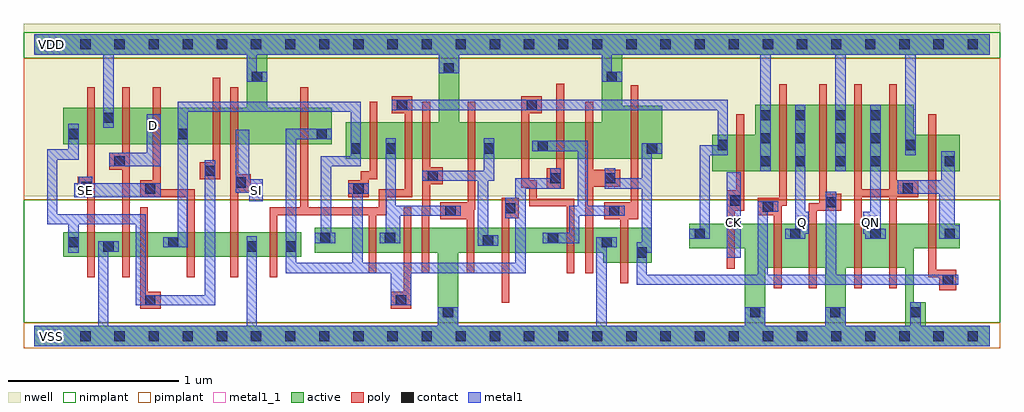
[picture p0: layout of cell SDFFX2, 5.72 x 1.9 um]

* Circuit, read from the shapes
.subckt SDFFX2 CK D Q QN SE SI VDD VSS
M1 VSS SE n1 VSS nfet w=0.145u l=0.045u
M2 n2 D VSS VSS nfet w=0.145u l=0.045u
M3 n3 n1 n2 VSS nfet w=0.145u l=0.045u
M4 n4 SE n3 VSS nfet w=0.145u l=0.045u
M5 VSS SI n4 VSS nfet w=0.145u l=0.045u
M6 n5 n6 VSS VSS nfet w=0.145u l=0.045u
M7 n7 n6 n3 VSS nfet w=0.145u l=0.045u
M8 n8 n5 n7 VSS nfet w=0.145u l=0.045u
M9 VSS n9 n8 VSS nfet w=0.145u l=0.045u
M10 n9 n7 VSS VSS nfet w=0.145u l=0.045u
M11 n10 n5 n9 VSS nfet w=0.145u l=0.045u
M12 n11 n6 n10 VSS nfet w=0.145u l=0.045u
M13 VSS n12 n11 VSS nfet w=0.145u l=0.045u
M14 n12 n10 VSS VSS nfet w=0.205u l=0.045u
M15 VSS CK n6 VSS nfet w=0.145u l=0.045u
M16 Q n12 VSS VSS nfet w=0.26u l=0.045u m=2
M17 QN n13 VSS VSS nfet w=0.26u l=0.045u m=2
M18 n13 n12 VSS VSS nfet w=0.145u l=0.045u
M19 VDD SE n1 VDD pfet w=0.215u l=0.045u
M20 n14 D VDD VDD pfet w=0.215u l=0.045u
M21 n3 SE n14 VDD pfet w=0.215u l=0.045u
M22 n15 n1 n3 VDD pfet w=0.215u l=0.045u
M23 VDD SI n15 VDD pfet w=0.215u l=0.045u
M24 n5 n6 VDD VDD pfet w=0.215u l=0.045u
M25 n7 n5 n3 VDD pfet w=0.215u l=0.045u
M26 n16 n6 n7 VDD pfet w=0.215u l=0.045u
M27 VDD n9 n16 VDD pfet w=0.215u l=0.045u
M28 n9 n7 VDD VDD pfet w=0.215u l=0.045u
M29 n10 n6 n9 VDD pfet w=0.215u l=0.045u
M30 n17 n5 n10 VDD pfet w=0.215u l=0.045u
M31 VDD n12 n17 VDD pfet w=0.215u l=0.045u
M32 n12 n10 VDD VDD pfet w=0.31u l=0.045u
M33 VDD CK n6 VDD pfet w=0.215u l=0.045u
M34 Q n12 VDD VDD pfet w=0.39u l=0.045u m=2
M35 QN n13 VDD VDD pfet w=0.39u l=0.045u m=2
M36 n13 n12 VDD VDD pfet w=0.215u l=0.045u
.ends

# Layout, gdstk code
import gdstk
lib = gdstk.Library(unit=1e-6, precision=5e-10)
def R(c, l, rs):  # rectangles x0, y0, x1, y1
    for r in rs: c.add(gdstk.rectangle(r[:2], r[2:], *l))
def A(c, l, x, y, w, h, nx, ny, dx, dy):  # array of equal rectangles
    R(c, l, [(x+i*dx, y+j*dy, x+i*dx+w, y+j*dy+h) for i in range(nx) for j in range(ny)])
def P(c, l, *ps):  # polygons
    for p in ps: c.add(gdstk.Polygon(p, *l))
active = (1, 0)
nwell = (2, 0)
poly = (3, 0)
nimplant = (4, 0)
pimplant = (5, 0)
contact = (6, 0)
metal1 = (7, 0)
metal1_1 = (7, 1)

sdffx2 = lib.new_cell('SDFFX2')
R(sdffx2, active, [(0.17,0.465,1.565,0.61)])
P(sdffx2, active, [(0,1.77),(5.6,1.77),(5.6,1.65),(3.445,1.65),(3.445,1.35),(3.68,1.35),(3.68,1.04),(1.825,1.04),(1.825,1.255),(2.37,1.255),(2.37,1.65),(2.49,1.65),(2.49,1.255),(3.325,1.255),(3.325,1.65),(1.365,1.65),(1.365,1.34),(1.745,1.34),(1.745,1.125),(0.17,1.125),(0.17,1.34),(1.245,1.34),(1.245,1.65),(0,1.65)],
  [(4.225,1.355),(5.155,1.355),(5.155,1.18),(5.425,1.18),(5.425,0.965),(3.975,0.965),(3.975,1.18),(4.225,1.18)],
  [(1.645,0.635),(3.62,0.635),(3.62,0.43),(3.335,0.43),(3.335,0.49),(2.485,0.49),(2.485,0.06),(4.165,0.06),(4.165,0.4),(4.285,0.4),(4.285,0.06),(4.635,0.06),(4.635,0.4),(4.755,0.4),(4.755,0.06),(5.105,0.06),(5.105,0.4),(4.165,0.4),(4.165,0.515),(3.84,0.515),(3.84,0.66),(5.425,0.66),(5.425,0.515),(5.155,0.515),(5.155,0.2),(5.225,0.2),(5.225,0.06),(5.6,0.06),(5.6,-0.06),(0,-0.06),(0,0.06),(2.365,0.06),(2.365,0.49),(1.645,0.49)])
R(sdffx2, nwell, [(-0.06,0.82,5.66,1.83)])
P(sdffx2, poly, [(0.31,1.46),(0.355,1.46),(0.355,0.345),(0.31,0.345),(0.31,0.815),(0.255,0.815),(0.255,0.935),(0.31,0.935)],
  [(0.515,1.46),(0.56,1.46),(0.56,0.345),(0.515,0.345),(0.515,0.975),(0.44,0.975),(0.44,1.075),(0.515,1.075)],
  [(0.695,1.46),(0.74,1.46),(0.74,0.86),(0.94,0.86),(0.94,0.345),(0.895,0.345),(0.895,0.815),(0.62,0.815),(0.62,0.915),(0.695,0.915)],
  [(1.045,1.515),(1.09,1.515),(1.09,0.92),(0.97,0.92),(0.97,1.02),(1.045,1.02)],
  [(1.15,1.46),(1.195,1.46),(1.195,0.95),(1.27,0.95),(1.27,0.85),(1.195,0.85),(1.195,0.345),(1.15,0.345)],
  [(1.56,1.46),(1.605,1.46),(1.605,0.755),(2.02,0.755),(2.02,0.86),(2.17,0.86),(2.17,1.305),(2.095,1.305),(2.095,1.405),(2.215,1.405),(2.215,0.815),(2.065,0.815),(2.065,0.71),(2.005,0.71),(2.005,0.37),(1.96,0.37),(1.96,0.71),(1.425,0.71),(1.425,0.345),(1.38,0.345),(1.38,0.755),(1.56,0.755)],
  [(1.965,1.375),(2.01,1.375),(2.01,0.92),(1.96,0.92),(1.96,0.815),(1.84,0.815),(1.84,0.915),(1.915,0.915),(1.915,0.965),(1.965,0.965)],
  [(2.275,1.375),(2.32,1.375),(2.32,0.99),(2.395,0.99),(2.395,0.89),(2.32,0.89),(2.32,0.71),(2.315,0.71),(2.315,0.37),(2.27,0.37),(2.27,0.755),(2.275,0.755)],
  [(2.855,1.405),(2.975,1.405),(2.975,1.305),(2.9,1.305),(2.9,0.915),(2.945,0.915),(2.945,0.805),(3.165,0.805),(3.165,0.37),(3.12,0.37),(3.12,0.76),(2.9,0.76),(2.9,0.87),(2.855,0.87)],
  [(2.54,1.375),(2.585,1.375),(2.585,0.74),(2.58,0.74),(2.58,0.37),(2.535,0.37),(2.535,0.685),(2.38,0.685),(2.38,0.785),(2.54,0.785)],
  [(3.06,1.48),(3.105,1.48),(3.105,0.865),(3.005,0.865),(3.005,0.985),(3.06,0.985)],
  [(3.23,1.375),(3.275,1.375),(3.275,0.975),(3.435,0.975),(3.435,0.875),(3.275,0.875),(3.275,0.37),(3.23,0.37)],
  [(3.495,1.47),(3.54,1.47),(3.54,0.685),(3.48,0.685),(3.48,0.31),(3.435,0.31),(3.435,0.685),(3.34,0.685),(3.34,0.785),(3.495,0.785)],
  [(4.365,1.475),(4.41,1.475),(4.41,0.765),(4.38,0.765),(4.38,0.28),(4.335,0.28),(4.335,0.71),(4.24,0.71),(4.24,0.81),(4.365,0.81)],
  [(4.6,1.475),(4.645,1.475),(4.645,0.835),(4.73,0.835),(4.73,0.735),(4.585,0.735),(4.585,0.28),(4.54,0.28),(4.54,0.78),(4.6,0.78)],
  [(4.805,1.475),(4.85,1.475),(4.85,0.86),(5.01,0.86),(5.01,1.475),(5.055,1.475),(5.055,0.915),(5.18,0.915),(5.18,0.815),(5.055,0.815),(5.055,0.28),(5.01,0.28),(5.01,0.815),(4.85,0.815),(4.85,0.28),(4.805,0.28)],
  [(4.115,1.3),(4.16,1.3),(4.16,0.735),(4.105,0.735),(4.105,0.395),(4.06,0.395),(4.06,0.855),(4.115,0.855)],
  [(5.24,1.3),(5.285,1.3),(5.285,0.39),(5.405,0.39),(5.405,0.27),(5.305,0.27),(5.305,0.345),(5.24,0.345)],
  [(2.74,0.81),(2.84,0.81),(2.84,0.69),(2.785,0.69),(2.785,0.195),(2.74,0.195)],
  [(0.62,0.755),(0.665,0.755),(0.665,0.26),(0.74,0.26),(0.74,0.16),(0.62,0.16)],
  [(2.165,0.755),(2.21,0.755),(2.21,0.16),(2.09,0.16),(2.09,0.26),(2.165,0.26)])
R(sdffx2, nimplant, [(-0.06,0.08,5.66,0.8), (-0.06,1.63,5.66,1.78)])
R(sdffx2, pimplant, [(-0.06,-0.07,5.66,0.08), (-0.06,0.8,5.66,1.63)])
A(sdffx2, contact, 0.07, -0.03, 0.06, 0.06, 28, 2, 0.2, 1.71)
A(sdffx2, contact, 4.195, 0.11, 0.06, 0.06, 3, 1, 0.47, 0)
A(sdffx2, contact, 4.255, 0.995, 0.06, 0.06, 1, 3, 0, 0.135)
A(sdffx2, contact, 4.46, 0.995, 0.06, 0.06, 1, 3, 0, 0.135)
A(sdffx2, contact, 4.695, 0.995, 0.06, 0.06, 1, 3, 0, 0.135)
A(sdffx2, contact, 4.9, 0.995, 0.06, 0.06, 1, 3, 0, 0.135)
R(sdffx2, contact, [(2.395,0.11,2.455,0.17), (0.65,0.18,0.71,0.24), (2.12,0.18,2.18,0.24), (5.325,0.3,5.385,0.36), (3.53,0.46,3.59,0.52), (0.405,0.495,0.465,0.555), (1.245,0.495,1.305,0.555), (1.475,0.495,1.535,0.555), (0.2,0.52,0.26,0.58), (0.785,0.52,0.845,0.58), (3.325,0.52,3.385,0.58), (2.63,0.53,2.69,0.59), (1.675,0.545,1.735,0.605), (2.055,0.545,2.115,0.605), (3.01,0.545,3.07,0.605), (3.87,0.57,3.93,0.63), (4.43,0.57,4.49,0.63), (4.9,0.57,4.96,0.63), (5.335,0.57,5.395,0.63), (2.41,0.705,2.47,0.765), (3.37,0.705,3.43,0.765), (2.76,0.72,2.82,0.78), (4.27,0.73,4.33,0.79), (4.64,0.755,4.7,0.815), (4.08,0.765,4.14,0.825), (0.65,0.835,0.71,0.895), (1.87,0.835,1.93,0.895), (5.09,0.835,5.15,0.895), (0.275,0.845,0.335,0.905), (1.18,0.87,1.24,0.93), (3.025,0.895,3.085,0.955), (3.345,0.895,3.405,0.955), (2.305,0.91,2.365,0.97), (1,0.94,1.06,1), (0.47,0.995,0.53,1.055), (5.335,0.995,5.395,1.055), (1.855,1.07,1.915,1.13), (2.06,1.07,2.12,1.13), (2.635,1.07,2.695,1.13), (3.59,1.07,3.65,1.13), (2.95,1.085,3.01,1.145), (4.005,1.09,4.065,1.15), (5.105,1.09,5.165,1.15), (0.2,1.155,0.26,1.215), (0.84,1.155,0.9,1.215), (1.655,1.155,1.715,1.215), (0.405,1.25,0.465,1.31), (2.125,1.325,2.185,1.385), (2.885,1.325,2.945,1.385), (1.275,1.49,1.335,1.55), (3.355,1.49,3.415,1.55), (2.4,1.54,2.46,1.6)])
R(sdffx2, metal1, [(4.06,0.46,4.14,0.96)])
P(sdffx2, metal1, [(0,1.77),(5.6,1.77),(5.6,1.65),(5.165,1.65),(5.165,1.06),(5.105,1.06),(5.105,1.65),(4.755,1.65),(4.755,0.965),(4.695,0.965),(4.695,1.65),(4.315,1.65),(4.315,0.965),(4.255,0.965),(4.255,1.65),(3.385,1.65),(3.385,1.55),(3.445,1.55),(3.445,1.49),(3.325,1.49),(3.325,1.65),(2.49,1.65),(2.49,1.54),(2.37,1.54),(2.37,1.65),(1.305,1.65),(1.305,1.55),(1.365,1.55),(1.365,1.49),(1.245,1.49),(1.245,1.65),(0.465,1.65),(0.465,1.22),(0.405,1.22),(0.405,1.65),(0,1.65)],
  [(0.2,1.245),(0.26,1.245),(0.26,1.035),(0.135,1.035),(0.135,0.715),(0.655,0.715),(0.655,0.24),(1,0.24),(1,1.03),(1.06,1.03),(1.06,0.18),(0.595,0.18),(0.595,0.655),(0.26,0.655),(0.26,0.49),(0.2,0.49),(0.2,0.655),(0.075,0.655),(0.075,1.095),(0.2,1.095)],
  [(0.84,1.375),(1.915,1.375),(1.915,0.995),(1.74,0.995),(1.74,0.605),(1.765,0.605),(1.765,0.545),(1.645,0.545),(1.645,0.605),(1.68,0.605),(1.68,1.055),(1.855,1.055),(1.855,1.315),(0.9,1.315),(0.9,0.52),(0.755,0.52),(0.755,0.58),(0.84,0.58)],
  [(0.66,1.3),(0.74,1.3),(0.74,0.995),(0.44,0.995),(0.44,1.075),(0.66,1.075)],
  [(0.26,0.935),(0.34,0.935),(0.34,0.895),(0.74,0.895),(0.74,0.815),(0.235,0.815),(0.235,0.895),(0.26,0.895)],
  [(0.375,0.555),(0.495,0.555),(0.495,0.495),(0.435,0.495),(0.435,0.06),(1.245,0.06),(1.245,0.585),(1.305,0.585),(1.305,0.06),(2.365,0.06),(2.365,0.17),(2.485,0.17),(2.485,0.06),(3.295,0.06),(3.295,0.58),(3.415,0.58),(3.415,0.52),(3.355,0.52),(3.355,0.06),(4.165,0.06),(4.165,0.17),(4.285,0.17),(4.285,0.06),(4.635,0.06),(4.635,0.17),(4.755,0.17),(4.755,0.06),(5.135,0.06),(5.135,0.2),(5.195,0.2),(5.195,0.06),(5.6,0.06),(5.6,-0.06),(0,-0.06),(0,0.06),(0.375,0.06)],
  [(1.475,1.215),(1.745,1.215),(1.745,1.155),(1.535,1.155),(1.535,0.43),(1.865,0.43),(1.865,0.835),(1.84,0.835),(1.84,0.895),(1.96,0.895),(1.96,0.835),(1.925,0.835),(1.925,0.43),(2.82,0.43),(2.82,0.69),(2.76,0.69),(2.76,0.81),(2.82,0.81),(2.82,0.925),(3.025,0.925),(3.025,0.985),(3.085,0.985),(3.085,0.865),(2.88,0.865),(2.88,0.37),(2.21,0.37),(2.21,0.18),(2.09,0.18),(2.09,0.37),(1.475,0.37)],
  [(2.095,1.385),(4.065,1.385),(4.065,1.06),(3.96,1.06),(3.96,0.57),(3.84,0.57),(3.84,0.63),(3.9,0.63),(3.9,1.12),(4.005,1.12),(4.005,1.325),(2.095,1.325)],
  [(1.18,1.21),(1.26,1.21),(1.26,0.92),(1.34,0.92),(1.34,0.79),(1.26,0.79),(1.26,0.84),(1.18,0.84)],
  [(2.06,1.16),(2.12,1.16),(2.12,0.765),(2.5,0.765),(2.5,0.705),(2.145,0.705),(2.145,0.545),(2.025,0.545),(2.025,0.605),(2.06,0.605)],
  [(2.635,1.16),(2.695,1.16),(2.695,0.91),(2.66,0.91),(2.66,0.59),(2.72,0.59),(2.72,0.53),(2.6,0.53),(2.6,0.91),(2.275,0.91),(2.275,0.97),(2.635,0.97)],
  [(2.92,1.145),(3.245,1.145),(3.245,0.765),(3.46,0.765),(3.46,0.705),(3.195,0.705),(3.195,0.545),(2.98,0.545),(2.98,0.605),(3.135,0.605),(3.135,0.765),(3.185,0.765),(3.185,1.085),(2.92,1.085)],
  [(3.56,1.13),(3.68,1.13),(3.68,1.07),(3.62,1.07),(3.62,0.49),(3.59,0.49),(3.59,0.36),(4.24,0.36),(4.24,0.79),(4.36,0.79),(4.36,0.73),(4.3,0.73),(4.3,0.36),(4.64,0.36),(4.64,0.845),(4.7,0.845),(4.7,0.36),(5.415,0.36),(5.415,0.3),(3.53,0.3),(3.53,0.55),(3.56,0.55),(3.56,0.865),(3.345,0.865),(3.345,0.985),(3.405,0.985),(3.405,0.925),(3.56,0.925)],
  [(4.46,1.355),(4.52,1.355),(4.52,0.73),(4.54,0.73),(4.54,0.6),(4.52,0.6),(4.52,0.57),(4.4,0.57),(4.4,0.63),(4.46,0.63)],
  [(4.9,1.355),(4.96,1.355),(4.96,0.63),(4.99,0.63),(4.99,0.57),(4.87,0.57),(4.87,0.6),(4.86,0.6),(4.86,0.73),(4.9,0.73)],
  [(5.315,1.085),(5.395,1.085),(5.395,0.65),(5.425,0.65),(5.425,0.57),(5.305,0.57),(5.305,0.835),(5.06,0.835),(5.06,0.915),(5.315,0.915)])
A(sdffx2, metal1_1, 4.06, 0.625, 0.08, 0.08, 3, 1, 0.4, 0)
R(sdffx2, metal1_1, [(0.06,-0.04,0.14,0.04), (0.26,0.815,0.34,0.895), (1.26,0.815,1.34,0.895), (0.66,1.195,0.74,1.275), (0.06,1.67,0.14,1.75)])
sdffx2.add(gdstk.Label('QN', (4.9,0.665), layer=7, texttype=1))
sdffx2.add(gdstk.Label('Q', (4.5,0.665), layer=7, texttype=1))
sdffx2.add(gdstk.Label('CK', (4.1,0.665), layer=7, texttype=1))
sdffx2.add(gdstk.Label('SI', (1.3,0.855), layer=7, texttype=1))
sdffx2.add(gdstk.Label('D', (0.7,1.235), layer=7, texttype=1))
sdffx2.add(gdstk.Label('SE', (0.3,0.855), layer=7, texttype=1))
sdffx2.add(gdstk.Label('VDD', (0.1,1.71), layer=7, texttype=1))
sdffx2.add(gdstk.Label('VSS', (0.1,0), layer=7, texttype=1))
sdffx2.add(gdstk.Label('SDFFX2', (0,0), layer=63, texttype=0))

lib.write_gds('SDFFX2.gds')
